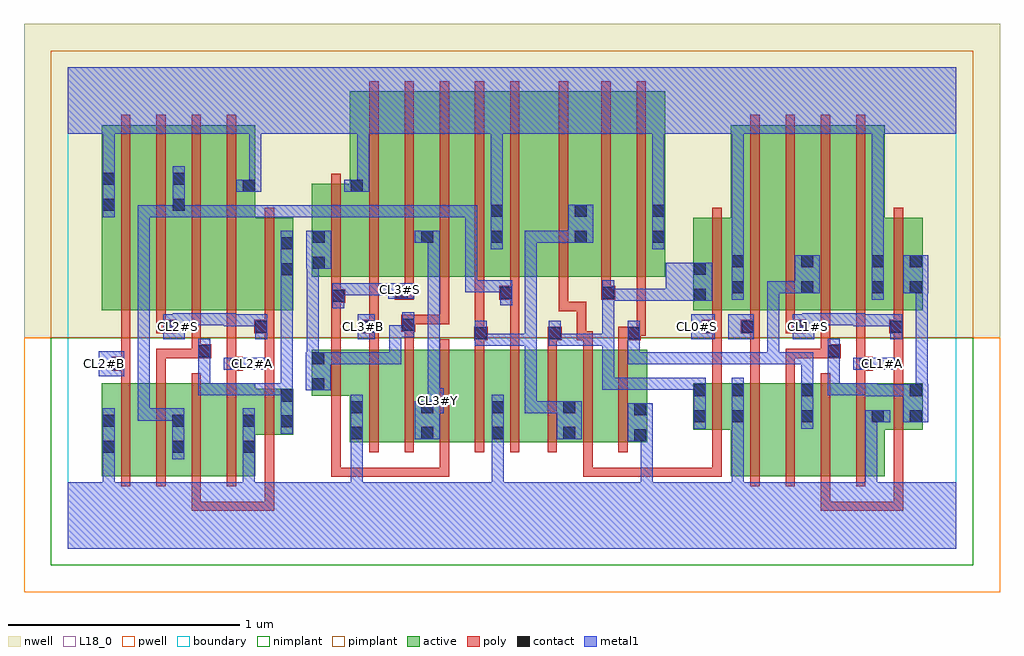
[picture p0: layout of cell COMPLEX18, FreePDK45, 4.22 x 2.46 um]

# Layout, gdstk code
import gdstk
lib = gdstk.Library(unit=1e-6, precision=1e-09)
def R(c, l, rs):  # rectangles x0, y0, x1, y1
    for r in rs: c.add(gdstk.rectangle(r[:2], r[2:], *l))
def A(c, l, x, y, w, h, nx, ny, dx, dy):  # array of equal rectangles
    R(c, l, [(x+i*dx, y+j*dy, x+i*dx+w, y+j*dy+h) for i in range(nx) for j in range(ny)])
active = (1, 0)
pwell = (2, 0)
nwell = (3, 0)
nimplant = (4, 0)
pimplant = (5, 0)
poly = (9, 0)
contact = (10, 0)
metal1 = (11, 0)
L18_0 = (18, 0)
boundary = (235, 0)

complex18 = lib.new_cell('COMPLEX18')
A(complex18, active, 1.22, 0.46, 0.18, 0.4, 3, 1, 0.304, 0)
R(complex18, active, [(0.148,0.314,0.328,0.714), (0.328,0.314,0.508,0.714), (0.448,0.314,0.632,0.714), (0.632,0.314,0.812,0.714), (2.866,0.314,2.926,0.714), (2.866,0.314,3.046,0.714), (3.046,0.314,3.226,0.714), (3.166,0.314,3.35,0.714), (3.35,0.314,3.53,0.714), (3.47,0.314,3.53,0.714), (0.448,0.356,0.508,0.588), (3.166,0.356,3.226,0.714), (0.148,0.41,0.208,0.714), (0.752,0.41,0.812,0.582), (1.22,0.46,1.28,0.86), (1.4,0.46,1.584,0.86), (1.524,0.46,1.584,0.642), (1.704,0.46,1.888,0.86), (1.828,0.46,1.888,0.86), (2.008,0.46,2.198,0.86), (2.138,0.46,2.198,0.86), (2.138,0.46,2.324,0.86), (2.324,0.46,2.504,0.86), (2.444,0.46,2.504,0.86), (0.752,0.492,0.976,0.692), (0.916,0.492,0.976,0.692), (2.702,0.514,2.926,0.714), (2.702,0.514,2.762,0.714), (3.47,0.514,3.694,0.714), (3.634,0.542,3.694,0.714), (1.054,0.66,1.114,0.86), (1.054,0.66,1.28,0.86), (0.148,1.03,0.328,1.83), (0.148,1.03,0.208,1.808), (0.328,1.03,0.51,1.83), (0.45,1.03,0.632,1.83), (0.632,1.03,0.812,1.83), (0.752,1.03,0.976,1.43), (0.752,1.03,0.812,1.83), (0.916,1.03,0.976,1.356), (2.702,1.03,2.926,1.43), (2.702,1.03,2.762,1.356), (2.866,1.03,3.046,1.83), (3.046,1.03,3.226,1.83), (3.166,1.03,3.35,1.83), (3.35,1.03,3.53,1.83), (3.47,1.03,3.694,1.43), (3.634,1.03,3.694,1.398), (3.47,1.068,3.53,1.43), (0.45,1.09,0.51,1.724), (2.866,1.1,2.926,1.356), (3.166,1.1,3.226,1.724), (1.056,1.176,1.28,1.576), (1.056,1.176,1.116,1.496), (1.22,1.176,1.4,1.976), (1.22,1.176,1.28,1.976), (1.4,1.176,1.584,1.976), (1.524,1.176,1.704,1.976), (1.524,1.176,1.584,1.62), (1.704,1.176,1.884,1.976), (1.824,1.176,2.008,1.976), (1.824,1.176,1.884,1.976), (2.008,1.176,2.246,1.976), (2.186,1.176,2.402,1.976), (2.402,1.176,2.582,1.976), (2.522,1.176,2.582,1.976), (2.186,1.206,2.246,1.724)])
R(complex18, pwell, [(-0.188,-0.188,4.028,0.912)])
R(complex18, nwell, [(-0.188,0.912,4.028,2.268)])
R(complex18, nimplant, [(-0.072,-0.072,3.912,0.912)])
R(complex18, pimplant, [(-0.072,0.912,3.912,2.152)])
A(complex18, poly, 0.232, 0.27, 0.04, 0.488, 4, 1, 0.152, 0)
A(complex18, poly, 2.95, 0.27, 0.04, 0.488, 4, 1, 0.152, 0)
A(complex18, poly, 1.304, 0.416, 0.04, 0.488, 5, 1, 0.152, 0)
A(complex18, poly, 0.232, 0.986, 0.04, 0.888, 4, 1, 0.152, 0)
A(complex18, poly, 2.95, 0.986, 0.04, 0.888, 4, 1, 0.152, 0)
A(complex18, poly, 1.304, 1.132, 0.04, 0.888, 5, 1, 0.152, 0)
R(complex18, poly, [(0.536,0.164,0.576,0.204), (0.536,0.164,0.576,0.204), (0.536,0.164,0.576,0.204), (0.536,0.164,0.576,0.31), (0.536,0.164,0.682,0.204), (0.642,0.164,0.682,0.204), (0.642,0.164,0.892,0.204), (0.852,0.164,0.892,0.204), (0.852,0.164,0.892,0.204), (0.852,0.164,0.892,0.204), (0.852,0.164,0.892,0.204), (0.852,0.164,0.892,0.204), (0.852,0.164,0.892,0.204), (0.852,0.164,0.892,0.204), (0.852,0.164,0.892,0.488), (3.254,0.164,3.294,0.204), (3.254,0.164,3.484,0.204), (3.254,0.164,3.294,0.31), (3.444,0.164,3.484,0.204), (3.444,0.164,3.484,0.204), (3.444,0.164,3.484,0.204), (3.444,0.164,3.61,0.204), (3.57,0.164,3.61,0.204), (3.57,0.164,3.61,0.204), (3.57,0.164,3.61,0.204), (3.57,0.164,3.61,0.204), (3.57,0.164,3.61,0.204), (3.57,0.164,3.61,0.204), (3.57,0.164,3.61,0.204), (3.57,0.164,3.61,0.51), (1.14,0.31,1.18,0.35), (1.14,0.31,1.18,0.35), (1.14,0.31,1.18,0.35), (1.14,0.31,1.18,0.35), (1.14,0.31,1.18,0.35), (1.14,0.31,1.18,0.656), (1.14,0.31,1.286,0.35), (1.246,0.31,1.286,0.35), (1.246,0.31,1.286,0.35), (1.246,0.31,1.286,0.35), (1.246,0.31,1.392,0.35), (1.352,0.31,1.392,0.35), (1.352,0.31,1.392,0.35), (1.352,0.31,1.392,0.35), (1.352,0.31,1.648,0.35), (1.608,0.31,1.648,0.35), (1.608,0.31,1.648,0.35), (1.608,0.31,1.648,0.35), (1.608,0.31,1.648,0.456), (2.228,0.31,2.268,0.35), (2.228,0.31,2.268,0.456), (2.228,0.31,2.346,0.35), (2.306,0.31,2.346,0.35), (2.306,0.31,2.674,0.35), (2.634,0.31,2.674,0.35), (2.634,0.31,2.674,0.35), (2.634,0.31,2.674,0.35), (2.634,0.31,2.826,0.35), (2.786,0.31,2.826,0.35), (2.786,0.31,2.826,0.35), (2.786,0.31,2.826,0.35), (2.786,0.31,2.826,0.35), (2.786,0.31,2.826,0.35), (2.786,0.31,2.826,0.35), (2.786,0.31,2.826,0.35), (2.786,0.31,2.826,0.51), (2.074,0.416,2.114,0.904), (2.228,0.416,2.268,0.904), (2.38,0.416,2.42,0.904), (0.852,0.448,0.892,0.736), (2.786,0.47,2.826,0.758), (3.57,0.47,3.61,0.758), (1.14,0.616,1.18,0.904), (0.852,0.696,0.892,0.97), (0.232,0.718,0.272,0.81), (0.384,0.718,0.424,0.864), (0.688,0.718,0.728,0.81), (2.786,0.718,2.826,0.97), (2.95,0.718,2.99,0.97), (3.102,0.718,3.142,0.864), (3.406,0.718,3.446,0.81), (3.57,0.718,3.61,0.97), (0.19,0.77,0.272,0.83), (0.688,0.77,0.758,0.83), (3.406,0.77,3.478,0.83), (0.232,0.79,0.272,0.83), (0.232,0.79,0.272,0.83), (0.232,0.79,0.272,1.026), (0.688,0.79,0.728,0.83), (0.688,0.79,0.728,0.83), (0.688,0.79,0.728,1.026), (3.406,0.79,3.446,0.83), (3.406,0.79,3.446,0.83), (3.406,0.79,3.446,1.026), (0.384,0.824,0.424,0.864), (0.384,0.824,0.424,0.864), (0.384,0.824,0.424,0.864), (0.384,0.824,0.576,0.864), (0.536,0.824,0.62,0.884), (3.102,0.824,3.142,0.864), (3.102,0.824,3.294,0.864), (3.254,0.824,3.294,0.864), (3.254,0.824,3.294,0.864), (3.254,0.824,3.34,0.884), (0.536,0.844,0.576,0.884), (0.536,0.844,0.576,0.884), (0.536,0.844,0.576,1.026), (3.254,0.844,3.294,0.884), (3.254,0.844,3.294,0.884), (3.254,0.844,3.294,1.026), (1.14,0.864,1.18,1.102), (1.304,0.864,1.344,0.97), (1.456,0.864,1.496,0.978), (1.76,0.864,1.8,0.94), (1.912,0.864,1.952,1.116), (2.074,0.864,2.114,0.94), (2.228,0.864,2.268,0.94), (2.38,0.864,2.42,0.94), (1.756,0.9,1.816,0.96), (2.074,0.9,2.134,0.96), (2.2,0.9,2.24,0.94), (2.2,0.9,2.268,0.94), (2.2,0.9,2.24,1.066), (2.228,0.9,2.268,0.94), (2.38,0.9,2.476,0.96), (1.76,0.92,1.8,0.96), (1.76,0.92,1.8,0.96), (1.76,0.92,1.8,1.172), (2.436,0.92,2.476,0.96), (2.436,0.92,2.498,0.96), (2.458,0.92,2.498,1.172), (0.384,0.93,0.47,0.99), (0.806,0.93,0.892,0.99), (0.852,0.93,0.892,0.97), (0.852,0.93,0.892,0.97), (1.272,0.93,1.344,0.99), (2.74,0.93,2.826,0.99), (2.786,0.93,2.826,0.97), (2.786,0.93,2.826,0.97), (2.908,0.93,2.99,0.99), (2.95,0.93,2.99,0.97), (2.95,0.93,2.99,0.97), (3.102,0.93,3.188,0.99), (3.55,0.93,3.61,0.99), (3.57,0.93,3.61,0.97), (3.57,0.93,3.61,0.97), (1.442,0.938,1.502,1.01), (0.384,0.95,0.424,1.026), (0.852,0.95,0.892,1.026), (1.304,0.95,1.344,0.99), (1.304,0.95,1.344,0.99), (1.304,0.95,1.344,1.172), (2.786,0.95,2.826,1.026), (2.95,0.95,2.99,1.026), (3.102,0.95,3.142,1.026), (3.57,0.95,3.61,1.026), (1.462,0.97,1.648,1.01), (1.608,0.97,1.648,1.01), (1.608,0.97,1.648,1.01), (1.608,0.97,1.648,1.01), (1.608,0.97,1.648,1.01), (1.608,0.97,1.648,1.01), (1.608,0.97,1.648,1.172), (0.852,0.986,0.892,1.474), (2.786,0.986,2.826,1.474), (3.57,0.986,3.61,1.474), (2.122,1.026,2.162,1.066), (2.122,1.026,2.162,1.172), (2.122,1.026,2.24,1.066), (2.2,1.026,2.24,1.066), (1.14,1.062,1.18,1.102), (1.14,1.062,1.18,1.102), (1.14,1.062,1.2,1.122), (1.414,1.076,1.496,1.136), (1.866,1.076,1.952,1.136), (1.912,1.076,1.952,1.116), (1.912,1.076,1.952,1.116), (2.306,1.076,2.366,1.136), (1.14,1.082,1.18,1.172), (1.456,1.096,1.496,1.172), (1.912,1.096,1.952,1.172), (2.306,1.096,2.346,1.172), (1.14,1.132,1.18,1.62), (2.122,1.132,2.162,2.02), (2.306,1.132,2.346,2.02), (2.458,1.132,2.498,2.02)])
A(complex18, contact, 1.224, 0.474, 0.052, 0.052, 3, 2, 0.304, 0.112)
R(complex18, contact, [(0.152,0.414,0.204,0.466), (0.452,0.414,0.504,0.466), (0.756,0.414,0.808,0.466), (2.448,0.464,2.5,0.516), (2.142,0.474,2.194,0.526), (0.92,0.524,0.972,0.576), (0.152,0.526,0.204,0.578), (0.452,0.526,0.504,0.578), (0.756,0.526,0.808,0.578), (2.706,0.546,2.758,0.598), (2.87,0.546,2.922,0.598), (3.17,0.546,3.222,0.598), (3.474,0.546,3.526,0.598), (3.638,0.546,3.69,0.598), (2.448,0.576,2.5,0.628), (2.142,0.586,2.194,0.638), (0.92,0.636,0.972,0.688), (2.706,0.658,2.758,0.71), (2.87,0.658,2.922,0.71), (3.17,0.658,3.222,0.71), (3.638,0.658,3.69,0.71), (1.058,0.684,1.11,0.736), (0.194,0.774,0.246,0.826), (0.702,0.774,0.754,0.826), (3.422,0.774,3.474,0.826), (1.058,0.796,1.11,0.848), (0.564,0.828,0.616,0.88), (3.284,0.828,3.336,0.88), (1.76,0.904,1.812,0.956), (2.078,0.904,2.13,0.956), (2.42,0.904,2.472,0.956), (0.414,0.934,0.466,0.986), (0.81,0.934,0.862,0.986), (1.276,0.934,1.328,0.986), (2.744,0.934,2.796,0.986), (2.912,0.934,2.964,0.986), (3.132,0.934,3.184,0.986), (3.554,0.934,3.606,0.986), (1.446,0.942,1.498,0.994), (1.144,1.066,1.196,1.118), (2.706,1.072,2.758,1.124), (1.418,1.08,1.47,1.132), (1.87,1.08,1.922,1.132), (2.31,1.08,2.362,1.132), (2.87,1.104,2.922,1.156), (3.17,1.104,3.222,1.156), (3.474,1.104,3.526,1.156), (3.638,1.104,3.69,1.156), (0.92,1.182,0.972,1.234), (2.706,1.184,2.758,1.236), (1.06,1.21,1.112,1.262), (2.87,1.216,2.922,1.268), (3.17,1.216,3.222,1.268), (3.474,1.216,3.526,1.268), (3.638,1.216,3.69,1.268), (0.92,1.294,0.972,1.346), (1.06,1.322,1.112,1.374), (1.528,1.322,1.58,1.374), (1.828,1.322,1.88,1.374), (2.19,1.322,2.242,1.374), (2.526,1.322,2.578,1.374), (1.828,1.434,1.88,1.486), (2.19,1.434,2.242,1.486), (2.526,1.434,2.578,1.486), (0.152,1.46,0.204,1.512), (0.454,1.46,0.506,1.512), (0.756,1.542,0.808,1.594), (1.224,1.542,1.276,1.594), (0.152,1.572,0.204,1.624), (0.454,1.572,0.506,1.624)])
A(complex18, metal1, 0.454, 1.432, 0.162, 0.052, 3, 1, 0.11, 0)
R(complex18, metal1, [(0,0,3.84,0.288), (0.152,0.236,0.204,0.438), (0.756,0.236,0.808,0.438), (1.224,0.236,1.276,0.498), (1.832,0.236,1.884,0.498), (2.476,0.236,2.528,0.516), (2.87,0.236,2.922,0.57), (3.446,0.236,3.498,0.598), (0.152,0.386,0.204,0.438), (0.152,0.386,0.204,0.438), (0.152,0.386,0.204,0.606), (0.452,0.386,0.504,0.606), (0.756,0.386,0.808,0.438), (0.756,0.386,0.808,0.438), (0.756,0.386,0.808,0.606), (1.224,0.446,1.276,0.498), (1.224,0.446,1.276,0.498), (1.224,0.446,1.276,0.666), (1.832,0.446,1.884,0.498), (1.832,0.446,1.884,0.498), (1.832,0.446,1.884,0.666), (2.42,0.464,2.528,0.628), (2.476,0.464,2.528,0.516), (2.476,0.464,2.528,0.516), (1.5,0.474,1.608,0.638), (2.114,0.474,2.222,0.638), (0.92,0.496,0.972,0.716), (2.706,0.518,2.758,0.738), (2.87,0.518,2.922,0.57), (2.87,0.518,2.922,0.57), (2.87,0.518,2.922,0.738), (3.17,0.518,3.222,0.738), (3.446,0.546,3.498,0.598), (3.446,0.546,3.498,0.598), (3.446,0.546,3.554,0.598), (3.61,0.546,3.718,0.71), (0.304,0.554,0.356,0.606), (0.304,0.554,0.356,0.606), (0.304,0.554,0.356,0.606), (0.304,0.554,0.356,0.606), (0.304,0.554,0.356,0.606), (0.304,0.554,0.504,0.606), (0.304,0.554,0.356,1.374), (1.556,0.586,1.608,0.638), (1.556,0.586,1.626,0.694), (1.974,0.586,2.026,0.638), (1.974,0.586,2.166,0.638), (1.974,0.586,2.026,0.928), (2.114,0.586,2.166,0.638), (2.114,0.586,2.166,0.638), (1.556,0.642,1.608,1.374), (3.444,0.658,3.662,0.71), (3.444,0.658,3.496,0.716), (3.61,0.658,3.662,0.71), (3.61,0.658,3.662,0.71), (3.664,0.658,3.716,1.156), (0.564,0.664,0.616,0.716), (0.564,0.664,0.726,0.716), (0.564,0.664,0.616,0.852), (0.674,0.664,0.726,0.716), (0.674,0.664,0.726,0.716), (0.674,0.664,0.726,0.716), (0.674,0.664,0.972,0.716), (0.92,0.664,0.972,0.716), (0.92,0.664,0.972,0.716), (0.92,0.664,0.972,0.716), (0.92,0.664,0.972,0.716), (0.92,0.664,0.972,0.716), (0.92,0.664,0.972,0.716), (0.92,0.664,0.972,1.206), (3.284,0.664,3.336,0.716), (3.284,0.664,3.496,0.716), (3.284,0.664,3.336,0.852), (3.444,0.664,3.496,0.716), (3.444,0.664,3.496,0.716), (1.03,0.684,1.138,0.848), (2.31,0.686,2.362,0.738), (2.31,0.686,2.526,0.738), (2.31,0.686,2.362,0.928), (2.474,0.686,2.526,0.738), (2.474,0.686,2.526,0.738), (2.474,0.686,2.526,0.738), (2.474,0.686,2.758,0.738), (3.17,0.686,3.222,0.848), (0.134,0.746,0.246,0.854), (0.674,0.774,0.854,0.826), (3.394,0.774,3.574,0.826), (1.034,0.796,1.086,0.848), (1.034,0.796,1.086,0.848), (1.034,0.796,1.086,1.262), (1.086,0.796,1.138,0.848), (1.086,0.796,1.138,0.848), (1.086,0.796,1.328,0.848), (1.276,0.796,1.328,0.848), (1.276,0.796,1.328,0.848), (1.276,0.796,1.328,0.848), (1.276,0.796,1.442,0.848), (1.39,0.796,1.442,0.848), (1.39,0.796,1.442,0.966), (2.42,0.796,2.796,0.848), (2.42,0.796,2.472,0.928), (2.744,0.796,2.796,0.848), (2.744,0.796,2.796,0.848), (2.744,0.796,2.796,0.848), (2.744,0.796,2.964,0.848), (2.912,0.796,2.964,0.848), (2.912,0.796,2.964,0.848), (2.912,0.796,2.964,0.848), (2.912,0.796,3.074,0.848), (3.022,0.796,3.074,0.848), (3.022,0.796,3.074,0.848), (3.022,0.796,3.074,0.848), (3.022,0.796,3.074,0.848), (3.022,0.796,3.074,0.848), (3.022,0.796,3.222,0.848), (3.022,0.796,3.074,1.156), (3.17,0.796,3.222,0.848), (0.564,0.8,0.616,0.852), (0.564,0.8,0.616,0.852), (0.564,0.8,0.616,0.908), (3.284,0.8,3.336,0.852), (3.284,0.8,3.336,0.852), (3.284,0.8,3.336,0.908), (1.76,0.876,1.812,0.984), (1.76,0.876,1.88,0.928), (1.828,0.876,1.88,0.928), (1.828,0.876,1.922,0.928), (1.87,0.876,1.922,0.928), (1.87,0.876,2.026,0.928), (1.974,0.876,2.026,0.928), (1.974,0.876,2.026,1.374), (2.078,0.876,2.13,0.984), (2.078,0.876,2.206,0.928), (2.154,0.876,2.206,0.928), (2.154,0.876,2.362,0.928), (2.31,0.876,2.362,0.928), (2.31,0.876,2.362,0.928), (2.31,0.876,2.362,0.928), (2.31,0.876,2.362,1.124), (2.42,0.876,2.472,0.928), (2.42,0.876,2.472,0.984), (0.414,0.906,0.506,1.014), (0.81,0.906,0.862,1.014), (1.254,0.906,1.328,1.014), (2.694,0.906,2.796,1.014), (2.854,0.906,2.964,1.014), (3.132,0.906,3.226,1.014), (3.554,0.906,3.606,1.014), (1.39,0.914,1.442,0.966), (1.39,0.914,1.498,0.966), (1.446,0.914,1.498,1.022), (0.454,0.962,0.506,1.014), (0.454,0.962,0.506,1.018), (0.674,0.962,0.726,1.014), (0.674,0.962,0.726,1.014), (0.674,0.962,0.726,1.018), (0.674,0.962,0.862,1.014), (3.174,0.962,3.226,1.014), (3.174,0.962,3.226,1.018), (3.394,0.962,3.446,1.014), (3.394,0.962,3.446,1.014), (3.394,0.962,3.606,1.014), (3.394,0.962,3.446,1.018), (0.454,0.966,0.616,1.018), (0.564,0.966,0.616,1.018), (0.564,0.966,0.616,1.018), (0.564,0.966,0.616,1.018), (0.564,0.966,0.726,1.018), (3.174,0.966,3.336,1.018), (3.284,0.966,3.336,1.018), (3.284,0.966,3.336,1.018), (3.284,0.966,3.336,1.018), (3.284,0.966,3.446,1.018), (1.144,1.038,1.196,1.146), (1.87,1.052,1.922,1.16), (2.31,1.052,2.362,1.16), (2.31,1.072,2.362,1.124), (2.31,1.072,2.362,1.124), (2.31,1.072,2.472,1.124), (2.42,1.072,2.472,1.124), (2.42,1.072,2.636,1.124), (2.584,1.072,2.636,1.124), (2.584,1.072,2.636,1.124), (2.584,1.072,2.636,1.124), (2.584,1.072,2.636,1.124), (2.584,1.072,2.786,1.236), (2.87,1.076,2.922,1.296), (3.474,1.076,3.526,1.296), (1.386,1.08,1.498,1.146), (1.144,1.094,1.328,1.146), (1.276,1.094,1.328,1.146), (1.276,1.094,1.328,1.146), (1.276,1.094,1.328,1.146), (1.276,1.094,1.438,1.146), (1.386,1.094,1.438,1.146), (1.386,1.094,1.438,1.146), (3.022,1.104,3.074,1.156), (3.022,1.104,3.074,1.156), (3.022,1.104,3.074,1.156), (3.022,1.104,3.194,1.156), (3.142,1.104,3.25,1.268), (3.61,1.104,3.718,1.268), (3.664,1.104,3.716,1.156), (3.664,1.104,3.716,1.156), (3.664,1.104,3.716,1.156), (3.664,1.104,3.716,1.156), (1.718,1.108,1.77,1.16), (1.718,1.108,1.77,1.16), (1.718,1.108,1.77,1.16), (1.718,1.108,1.77,1.16), (1.718,1.108,1.77,1.16), (1.718,1.108,1.88,1.16), (1.718,1.108,1.77,1.484), (1.828,1.108,1.88,1.16), (1.828,1.108,1.922,1.16), (0.92,1.154,0.972,1.374), (1.032,1.21,1.14,1.374), (1.034,1.21,1.086,1.262), (1.034,1.21,1.086,1.262), (2.87,1.244,2.922,1.844), (3.474,1.244,3.526,1.844), (1.828,1.294,1.88,1.514), (2.526,1.294,2.578,1.514), (0.304,1.322,0.356,1.374), (0.304,1.322,0.356,1.484), (1.5,1.322,1.608,1.374), (1.556,1.322,1.608,1.374), (1.556,1.322,1.608,1.374), (1.974,1.322,2.026,1.374), (1.974,1.322,2.214,1.374), (2.162,1.322,2.214,1.374), (2.162,1.322,2.214,1.374), (2.162,1.322,2.214,1.374), (2.162,1.322,2.214,1.374), (2.162,1.322,2.27,1.486), (0.152,1.432,0.204,1.652), (0.304,1.432,0.356,1.484), (0.304,1.432,0.356,1.484), (0.304,1.432,0.356,1.484), (0.304,1.432,0.506,1.484), (0.454,1.432,0.506,1.652), (0.564,1.432,0.616,1.484), (0.564,1.432,0.616,1.484), (0.564,1.432,0.616,1.484), (0.674,1.432,0.726,1.484), (0.674,1.432,0.726,1.484), (0.674,1.432,0.726,1.484), (0.674,1.432,0.726,1.484), (0.674,1.432,0.726,1.484), (0.784,1.432,0.836,1.484), (0.784,1.432,0.836,1.484), (0.784,1.432,0.836,1.484), (0.784,1.432,1.082,1.484), (1.03,1.432,1.082,1.484), (1.03,1.432,1.082,1.484), (1.03,1.432,1.082,1.484), (1.03,1.432,1.306,1.484), (1.254,1.432,1.306,1.484), (1.254,1.432,1.306,1.484), (1.254,1.432,1.306,1.484), (1.254,1.432,1.442,1.484), (1.39,1.432,1.442,1.484), (1.39,1.432,1.442,1.484), (1.39,1.432,1.442,1.484), (1.39,1.432,1.608,1.484), (1.556,1.432,1.608,1.484), (1.556,1.432,1.608,1.484), (1.556,1.432,1.608,1.484), (1.556,1.432,1.77,1.484), (1.718,1.432,1.77,1.484), (1.828,1.462,1.88,1.844), (2.526,1.462,2.578,1.844), (0.728,1.542,0.836,1.594), (0.784,1.542,0.836,1.844), (1.196,1.542,1.304,1.594), (1.252,1.542,1.304,1.844), (0.152,1.6,0.204,1.844), (0,1.792,3.84,2.08)])
R(complex18, L18_0, [(0,0,3.84,0.288), (0.152,0.236,0.204,0.438), (0.756,0.236,0.808,0.438), (1.224,0.236,1.276,0.498), (1.832,0.236,1.884,0.498), (2.476,0.236,2.528,0.516), (2.87,0.236,2.922,0.57), (3.446,0.236,3.498,0.598), (0.152,0.386,0.204,0.438), (0.152,0.386,0.204,0.438), (0.152,0.386,0.204,0.606), (0.756,0.386,0.808,0.438), (0.756,0.386,0.808,0.438), (0.756,0.386,0.808,0.606), (1.224,0.446,1.276,0.498), (1.224,0.446,1.276,0.498), (1.224,0.446,1.276,0.666), (1.832,0.446,1.884,0.498), (1.832,0.446,1.884,0.498), (1.832,0.446,1.884,0.666), (2.42,0.464,2.528,0.628), (2.476,0.464,2.528,0.516), (2.476,0.464,2.528,0.516), (1.5,0.474,1.608,0.638), (2.87,0.518,2.922,0.57), (2.87,0.518,2.922,0.57), (2.87,0.518,2.922,0.738), (3.446,0.546,3.498,0.598), (3.446,0.546,3.498,0.598), (3.446,0.546,3.554,0.598), (1.556,0.586,1.608,0.638), (1.556,0.586,1.626,0.694), (1.574,0.614,1.626,0.666), (1.556,0.642,1.608,1.374), (0.134,0.746,0.246,0.854), (0.134,0.774,0.186,0.826), (0.674,0.774,0.854,0.826), (0.774,0.774,0.826,0.826), (3.394,0.774,3.574,0.826), (3.494,0.774,3.546,0.826), (0.414,0.906,0.506,1.014), (0.81,0.906,0.862,1.014), (1.254,0.906,1.328,1.014), (2.694,0.906,2.796,1.014), (2.854,0.906,2.964,1.014), (3.132,0.906,3.226,1.014), (3.554,0.906,3.606,1.014), (0.454,0.934,0.506,0.986), (1.254,0.934,1.306,0.986), (2.694,0.934,2.746,0.986), (2.854,0.934,2.906,0.986), (3.174,0.934,3.226,0.986), (0.454,0.962,0.506,1.014), (0.454,0.962,0.506,1.018), (0.674,0.962,0.726,1.014), (0.674,0.962,0.726,1.014), (0.674,0.962,0.726,1.018), (0.674,0.962,0.862,1.014), (3.174,0.962,3.226,1.014), (3.174,0.962,3.226,1.018), (3.394,0.962,3.446,1.014), (3.394,0.962,3.446,1.014), (3.394,0.962,3.446,1.018), (3.394,0.962,3.606,1.014), (0.454,0.966,0.616,1.018), (0.564,0.966,0.616,1.018), (0.564,0.966,0.616,1.018), (0.564,0.966,0.616,1.018), (0.564,0.966,0.726,1.018), (3.174,0.966,3.336,1.018), (3.284,0.966,3.336,1.018), (3.284,0.966,3.336,1.018), (3.284,0.966,3.336,1.018), (3.284,0.966,3.446,1.018), (1.144,1.038,1.196,1.146), (2.87,1.076,2.922,1.296), (3.474,1.076,3.526,1.296), (1.386,1.08,1.498,1.146), (1.144,1.094,1.328,1.146), (1.276,1.094,1.328,1.146), (1.276,1.094,1.328,1.146), (1.276,1.094,1.328,1.146), (1.276,1.094,1.438,1.146), (1.386,1.094,1.438,1.146), (1.386,1.094,1.438,1.146), (1.414,1.094,1.466,1.146), (2.87,1.244,2.922,1.844), (3.474,1.244,3.526,1.844), (1.828,1.294,1.88,1.514), (2.526,1.294,2.578,1.514), (1.5,1.322,1.608,1.374), (1.556,1.322,1.608,1.374), (1.556,1.322,1.608,1.374), (0.152,1.432,0.204,1.652), (1.828,1.462,1.88,1.844), (2.526,1.462,2.578,1.844), (0.728,1.542,0.836,1.594), (0.784,1.542,0.836,1.844), (1.196,1.542,1.304,1.594), (1.252,1.542,1.304,1.844), (0.152,1.6,0.204,1.844), (0,1.792,3.84,2.08)])
R(complex18, boundary, [(0,0,3.84,2.08)])
complex18.add(gdstk.Label('CL0#S', (2.72,0.96), layer=11, texttype=0))
complex18.add(gdstk.Label('CL1#A', (3.52,0.8), layer=11, texttype=0))
complex18.add(gdstk.Label('CL1#B', (2.88,0.96), layer=11, texttype=0))
complex18.add(gdstk.Label('CL1#S', (3.2,0.96), layer=11, texttype=0))
complex18.add(gdstk.Label('CL2#A', (0.8,0.8), layer=11, texttype=0))
complex18.add(gdstk.Label('CL2#B', (0.16,0.8), layer=11, texttype=0))
complex18.add(gdstk.Label('CL2#S', (0.48,0.96), layer=11, texttype=0))
complex18.add(gdstk.Label('CL3#B', (1.28,0.96), layer=11, texttype=0))
complex18.add(gdstk.Label('CL3#S', (1.44,1.12), layer=11, texttype=0))
complex18.add(gdstk.Label('CL3#Y', (1.6,0.64), layer=11, texttype=0))

lib.write_gds('COMPLEX18.gds')
